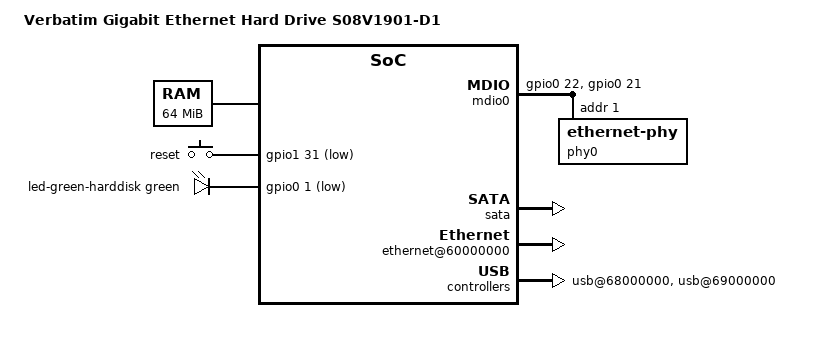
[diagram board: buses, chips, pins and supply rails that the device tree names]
// SPDX-License-Identifier: GPL-2.0
/*
 * Device Tree file for the Verbatim S08V1901-D1
 * on product packaging called "Verbatim Gigabit Ethernet Hard Drive"
 */

/dts-v1/;

#include "gemini.dtsi"
#include <dt-bindings/leds/common.h>
#include <dt-bindings/input/input.h>

/ {
	model = "Verbatim Gigabit Ethernet Hard Drive S08V1901-D1";
	compatible = "verbatim,s08v1901-d1", "cortina,gemini";
	#address-cells = <1>;
	#size-cells = <1>;

	memory@0 {
		/* 64MB SDRAM in 2 x Hynix HY5DU561622ETP-D43 */
		device_type = "memory";
		reg = <0x00000000 0x4000000>;
	};

	chosen {
		bootargs = "console=ttyS0,19200n8 root=/dev/sda1 rw rootwait";
		stdout-path = &uart0;
	};

	gpio_keys {
		compatible = "gpio-keys";

		button-reset {
			debounce-interval = <50>;
			wakeup-source;
			linux,code = <KEY_RESTART>;
			label = "reset";
			gpios = <&gpio1 31 GPIO_ACTIVE_LOW>;
		};
	};

	leds {
		compatible = "gpio-leds";
		led-green-harddisk {
			function = LED_FUNCTION_DISK_ACTIVITY;
			color = <LED_COLOR_ID_GREEN>;
			gpios = <&gpio0 1 GPIO_ACTIVE_LOW>;
			default-state = "off";
			linux,default-trigger = "disk-activity";
		};
	};

	/*
	 * Fan control candidates: gpio0 10, gpio1 28
	 */

	mdio0: mdio {
		compatible = "virtual,mdio-gpio";
		/* Uses MDC and MDIO */
		gpios = <&gpio0 22 GPIO_ACTIVE_HIGH>, /* MDC */
			<&gpio0 21 GPIO_ACTIVE_HIGH>; /* MDIO */
		#address-cells = <1>;
		#size-cells = <0>;

		/* This is a Realtek RTL8211CL ethernet PHY */
		phy0: ethernet-phy@1 {
			reg = <1>;
		};
	};

	/*
	 * I haven't found a way to control the fan, it appears to be
	 * always on.
	 */
	thermal-zones {
		chassis-thermal {
			/* Poll every 20 seconds */
			polling-delay = <20000>;
			/* Poll every 2nd second when cooling */
			polling-delay-passive = <2000>;
			/*  Use the thermal sensor in the hard drive */
			thermal-sensors = <&drive0>;

			/* Tripping points from the fan.script in the rootfs */
			trips {
				alert: chassis-alert {
					/* At 43 degrees turn on the fan */
					temperature = <43000>;
					hysteresis = <3000>;
					type = "active";
				};
				crit: chassis-crit {
					/* Just shut down at 60 degrees */
					temperature = <60000>;
					hysteresis = <2000>;
					type = "critical";
				};
			};
		};
	};

	soc {
		flash@30000000 {
			/*
			 * This is a Spansion S29GL128P11TFI01 852FB245 A
			 * 128Mbit (16MB) Flash memory.
			 */
			status = "okay";
			reg = <0x30000000 0x01000000>;

			partitions {
				compatible = "redboot-fis";
				/* Eraseblock at 0xfe0000 */
				fis-index-block = <0x7f>;
			};
		};

		syscon: syscon@40000000 {
			pinctrl {
				/*
				 * gpio0agrp cover line 0-4 as line 1 is used for the LED
				 * gpio0hgrp cover line 21, 22 used by MDIO for Marvell PHY
				 */
				gpio0_default_pins: pinctrl-gpio0 {
					mux {
						function = "gpio0";
						groups = "gpio0agrp", "gpio0hgrp";
					};
				};
				gpio1_default_pins: pinctrl-gpio1 {
					/*
					 * Free up the TVC pins at GPIO1 offset 28,29,30,31
					 * line 31 is used for reset key
					 */
					mux {
						function = "gpio1";
						groups = "gpio1dgrp";
					};
				};
				pinctrl-gmii {
					mux {
						function = "gmii";
						groups = "gmii_gmac0_grp";
					};
					/* TODO: investigate vendor registers on boot */
					conf0 {
						pins = "V8 GMAC0 RXDV";
						skew-delay = <0>;
					};
					conf1 {
						pins = "Y7 GMAC0 RXC";
						skew-delay = <15>;
					};
					conf2 {
						pins = "T8 GMAC0 TXEN";
						skew-delay = <7>;
					};
					conf3 {
						pins = "U8 GMAC0 TXC";
						skew-delay = <10>;
					};
					conf4 {
						/* The data lines all have default skew */
						pins = "W8 GMAC0 RXD0", "V9 GMAC0 RXD1",
						       "Y8 GMAC0 RXD2", "U9 GMAC0 RXD3",
						       "T7 GMAC0 TXD0", "U6 GMAC0 TXD1",
						       "V7 GMAC0 TXD2", "U7 GMAC0 TXD3";
						skew-delay = <7>;
					};
				};
			};
		};

		/* Both interfaces brought out on SATA connectors */
		sata: sata@46000000 {
			cortina,gemini-ata-muxmode = <0>;
			cortina,gemini-enable-sata-bridge;
			status = "okay";
		};

		gpio0: gpio@4d000000 {
			pinctrl-names = "default";
			pinctrl-0 = <&gpio0_default_pins>;
		};

		gpio1: gpio@4e000000 {
			pinctrl-names = "default";
			pinctrl-0 = <&gpio1_default_pins>;
		};

		ethernet@60000000 {
			status = "okay";

			ethernet-port@0 {
				phy-mode = "rgmii";
				phy-handle = <&phy0>;
			};
		};

		ide@63000000 {
			status = "okay";
			/*
			 * This drive may have a temperature sensor with a
			 * thermal zone we can use for thermal control of the
			 * chassis temperature using the fan.
			 */
			drive0: ide-port@0 {
				reg = <0>;
				#thermal-sensor-cells = <0>;
			};
		};

		ide@63400000 {
			status = "okay";
		};

		usb@68000000 {
			status = "okay";
		};

		usb@69000000 {
			status = "okay";
		};
	};
};
